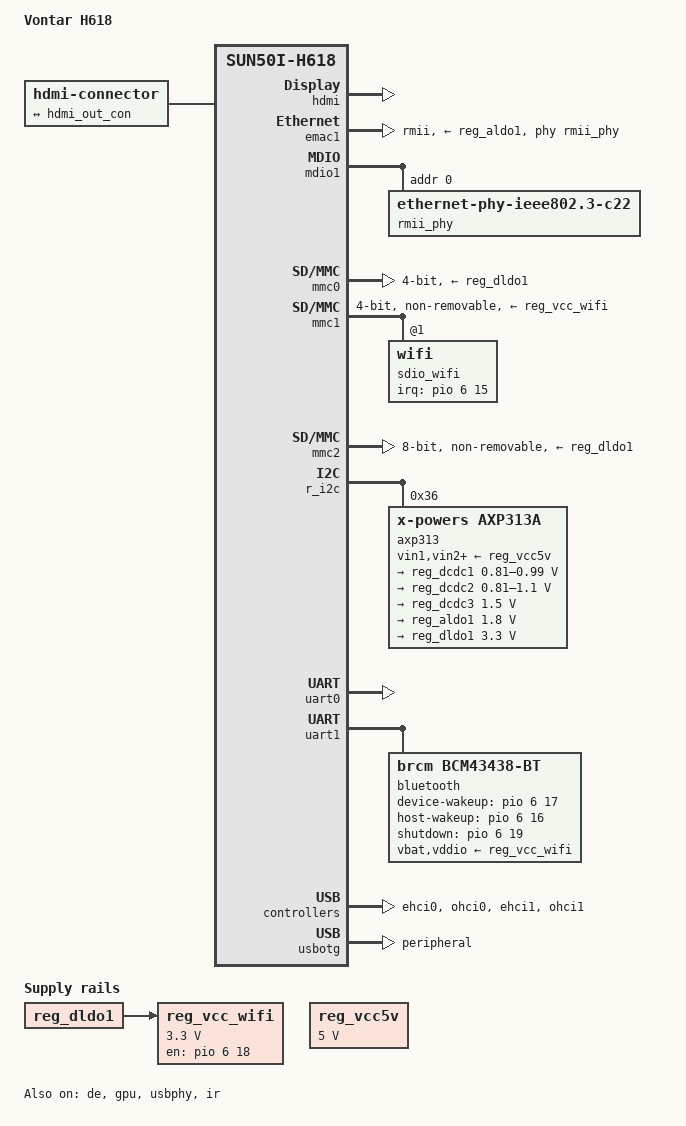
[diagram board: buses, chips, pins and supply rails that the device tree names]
// SPDX-License-Identifier: (GPL-2.0+ OR MIT)
/*
 * Device tree for Vontar H618 TV box.
 *
 * SoC:      Allwinner H618 (quad Cortex-A53)
 * RAM:      4 GB DDR3
 * eMMC:     128 GB (on mmc2, 8-bit HS200)
 * Network:  100 Mbit RMII PHY on EMAC1
 * Wireless: SDIO Wi-Fi on mmc1 + BT on UART1 (bcm43438 family)
 * Video:    HDMI output (DE33 pipeline)
 * USB:      1 × USB 2.0 host port (ehci1/ohci1) + micro-USB OTG (usbotg)
 * PMIC:     X-Powers AXP313a on r_i2c
 */

/dts-v1/;

#include "sun50i-h616.dtsi"
#include "sun50i-h616-cpu-opp.dtsi"
#include <dt-bindings/gpio/gpio.h>
#include <dt-bindings/interrupt-controller/arm-gic.h>
#include <dt-bindings/leds/common.h>

/ {
	model = "Vontar H618";
	compatible = "vontar,h618", "allwinner,sun50i-h618";

	aliases {
		ethernet0 = &emac1;
		ethernet1 = &sdio_wifi;
		mmc0 = &mmc0;
		mmc1 = &mmc1;
		mmc2 = &mmc2;
		serial0 = &uart0;
	};

	chosen {
		stdout-path = "serial0:115200n8";
	};

	/* HDMI connector (Type-A) */
	connector {
		compatible = "hdmi-connector";
		type = "a";

		port {
			hdmi_con_in: endpoint {
				remote-endpoint = <&hdmi_out_con>;
			};
		};
	};

	/* Board 5 V rail coming from the DC jack */
	reg_vcc5v: regulator-vcc5v {
		compatible = "regulator-fixed";
		regulator-name = "vcc-5v";
		regulator-min-microvolt = <5000000>;
		regulator-max-microvolt = <5000000>;
		regulator-always-on;
	};

	/*
	 * Wi-Fi / BT module power.
	 * WL_REG_ON is PG18, pulled high to enable the 3.3 V rail that feeds
	 * both the Wi-Fi chip's VBAT and the BT VDDIO.
	 */
	reg_vcc_wifi: regulator-vcc-wifi {
		compatible = "regulator-fixed";
		regulator-name = "vcc-wifi";
		regulator-min-microvolt = <3300000>;
		regulator-max-microvolt = <3300000>;
		enable-active-high;
		gpio = <&pio 6 18 GPIO_ACTIVE_HIGH>; /* PG18 */
		vin-supply = <&reg_dldo1>;
	};

	wifi_pwrseq: wifi-pwrseq {
		compatible = "mmc-pwrseq-simple";
		clocks = <&rtc CLK_OSC32K_FANOUT>;
		clock-names = "ext_clock";
		pinctrl-names = "default";
		pinctrl-0 = <&x32clk_fanout_pin>;
	};
};

&cpu0 {
	cpu-supply = <&reg_dcdc2>;
};

&de {
	status = "okay";
};

&gpu {
	mali-supply = <&reg_dcdc1>;
	status = "okay";
};

&hdmi {
	hvcc-supply = <&reg_aldo1>;
	status = "okay";
};

&hdmi_out {
	hdmi_out_con: endpoint {
		remote-endpoint = <&hdmi_con_in>;
	};
};

&emac1 {
	pinctrl-names = "default";
	pinctrl-0 = <&rmii_pins>;
	phy-mode = "rmii";
	phy-handle = <&rmii_phy>;
	phy-supply = <&reg_aldo1>;
	allwinner,rx-delay-ps = <3100>;
	allwinner,tx-delay-ps = <700>;
	status = "okay";
};

&mdio1 {
	rmii_phy: ethernet-phy@0 {
		compatible = "ethernet-phy-ieee802.3-c22";
		reg = <0>;
	};
};

&mmc0 {
	vmmc-supply = <&reg_dldo1>;
	/* SD-card detect line is unreliable on this board */
	broken-cd;
	bus-width = <4>;
	status = "okay";
};

&mmc1 {
	vmmc-supply = <&reg_vcc_wifi>;
	vqmmc-supply = <&reg_vcc_wifi>;
	mmc-pwrseq = <&wifi_pwrseq>;
	bus-width = <4>;
	non-removable;
	status = "okay";

	sdio_wifi: wifi@1 {
		reg = <1>;
		interrupt-parent = <&pio>;
		interrupts = <6 15 IRQ_TYPE_LEVEL_LOW>; /* PG15 WL_HOSTWAKE */
		interrupt-names = "host-wake";
	};
};

&mmc2 {
	vmmc-supply = <&reg_dldo1>;
	vqmmc-supply = <&reg_aldo1>;
	bus-width = <8>;
	non-removable;
	cap-mmc-hw-reset;
	mmc-ddr-1_8v;
	mmc-hs200-1_8v;
	status = "okay";
};

&pio {
	vcc-pc-supply = <&reg_aldo1>; /* PC bank feeds eMMC (1.8 V) */
	vcc-pf-supply = <&reg_dldo1>; /* PF bank feeds SD */
	vcc-pg-supply = <&reg_dldo1>; /* PG bank: Wi-Fi/BT, mmc1 */
	vcc-ph-supply = <&reg_dldo1>;
	vcc-pi-supply = <&reg_dldo1>; /* PI bank: RMII lines */
};

&r_i2c {
	status = "okay";

	axp313: pmic@36 {
		compatible = "x-powers,axp313a";
		reg = <0x36>;
		#interrupt-cells = <1>;
		interrupt-controller;

		vin1-supply = <&reg_vcc5v>;
		vin2-supply = <&reg_vcc5v>;
		vin3-supply = <&reg_vcc5v>;

		regulators {
			reg_dcdc1: dcdc1 {
				regulator-always-on;
				regulator-min-microvolt = <810000>;
				regulator-max-microvolt = <990000>;
				regulator-name = "vdd-gpu-sys";
			};

			reg_dcdc2: dcdc2 {
				regulator-always-on;
				regulator-min-microvolt = <810000>;
				regulator-max-microvolt = <1100000>;
				regulator-name = "vdd-cpu";
			};

			reg_dcdc3: dcdc3 {
				regulator-always-on;
				regulator-min-microvolt = <1500000>;
				regulator-max-microvolt = <1500000>;
				regulator-name = "vdd-dram";
			};

			reg_aldo1: aldo1 {
				regulator-always-on;
				regulator-min-microvolt = <1800000>;
				regulator-max-microvolt = <1800000>;
				regulator-name = "vcc1v8";
			};

			reg_dldo1: dldo1 {
				regulator-always-on;
				regulator-min-microvolt = <3300000>;
				regulator-max-microvolt = <3300000>;
				regulator-name = "vcc3v3";
			};
		};
	};
};

&uart0 {
	pinctrl-names = "default";
	pinctrl-0 = <&uart0_ph_pins>;
	status = "okay";
};

/* UART1 – Bluetooth (bcm43438) */
&uart1 {
	pinctrl-names = "default";
	pinctrl-0 = <&uart1_pins>, <&uart1_rts_cts_pins>;
	uart-has-rtscts;
	status = "okay";

	bluetooth {
		compatible = "brcm,bcm43438-bt";
		clocks = <&rtc CLK_OSC32K_FANOUT>;
		clock-names = "lpo";
		vbat-supply = <&reg_vcc_wifi>;
		vddio-supply = <&reg_vcc_wifi>;
		device-wakeup-gpios = <&pio 6 17 GPIO_ACTIVE_HIGH>; /* PG17 */
		host-wakeup-gpios   = <&pio 6 16 GPIO_ACTIVE_HIGH>; /* PG16 */
		shutdown-gpios      = <&pio 6 19 GPIO_ACTIVE_HIGH>; /* PG19 */
	};
};

/*
 * The TV box has exactly one external USB 2.0 type-A port and an
 * (optional) micro-USB OTG that is usually wired as peripheral.
 * Only the first EHCI/OHCI pair is actually routed to the type-A port;
 * however the H616 USB PHY driver requires all ports to be either
 * enabled or left disabled together when they share clocks, so we
 * enable ehci0/ohci0 and ehci1/ohci1 (the ones that are commonly used
 * on Vontar boards) and leave the rest off.
 */
&ehci0 {
	status = "okay";
};

&ohci0 {
	status = "okay";
};

&ehci1 {
	status = "okay";
};

&ohci1 {
	status = "okay";
};

&usbotg {
	dr_mode = "peripheral";
	status = "okay";
};

&usbphy {
	usb1_vbus-supply = <&reg_vcc5v>;
	status = "okay";
};

&ir {
	status = "okay";
};
